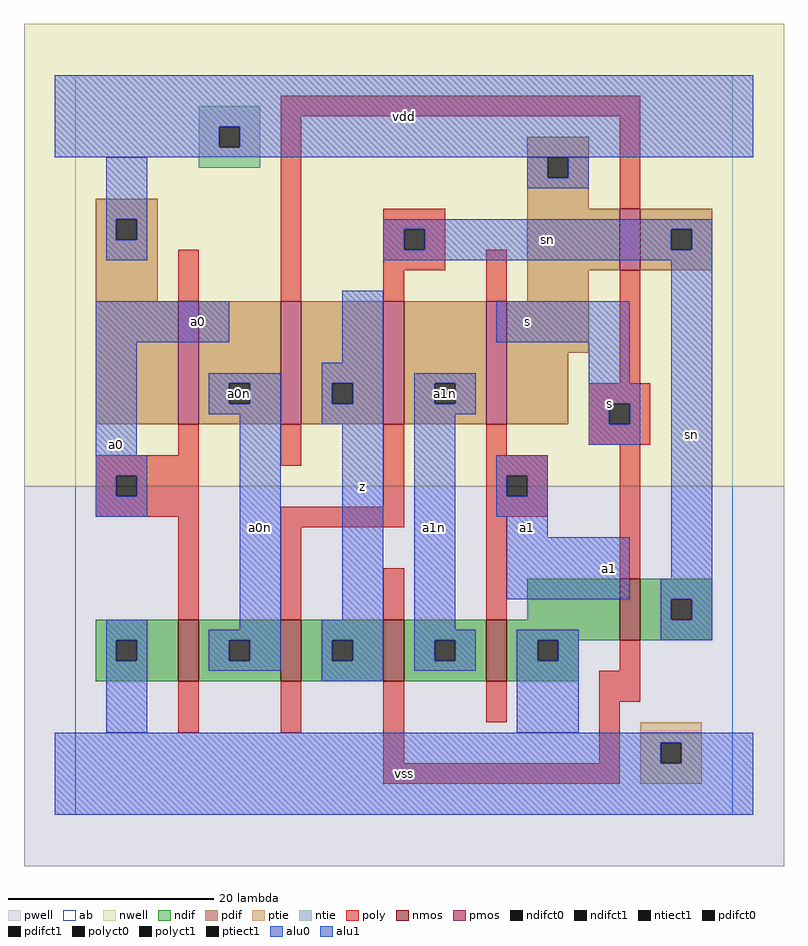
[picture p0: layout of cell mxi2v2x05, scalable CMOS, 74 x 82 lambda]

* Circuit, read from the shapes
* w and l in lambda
.subckt mxi2v2x05 a0 a0n a1 a1n s sn vdd vss z
M1 a0n a0 vss vss nfet w=6 l=2
M2 z sn a0n vss nfet w=6 l=2
M3 a1n s z vss nfet w=6 l=2
M4 vss a1 a1n vss nfet w=6 l=2
M5 sn s vss vss nfet w=6 l=2
M6 a0n a0 vdd vdd pfet w=12 l=2
M7 z s a0n vdd pfet w=12 l=2
M8 a1n sn z vdd pfet w=12 l=2
M9 vdd a1 a1n vdd pfet w=12 l=2
M10 sn s vdd vdd pfet w=6 l=2
.ends

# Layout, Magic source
magic
tech scmos
<< ab >>
rect 0 0 64 72
<< nwell >>
rect -5 32 69 77
<< pwell >>
rect -5 -5 69 32
<< poly >>
rect 20 68 55 70
rect 10 50 12 55
rect 20 50 22 68
rect 53 59 55 68
rect 30 57 36 59
rect 30 55 32 57
rect 34 55 36 57
rect 30 53 36 55
rect 30 50 32 53
rect 40 50 42 55
rect 53 42 55 53
rect 50 40 56 42
rect 50 38 52 40
rect 54 38 56 40
rect 10 35 12 38
rect 2 33 12 35
rect 20 34 22 38
rect 2 31 4 33
rect 6 31 12 33
rect 2 29 12 31
rect 30 30 32 38
rect 10 19 12 29
rect 20 28 32 30
rect 40 35 42 38
rect 50 36 56 38
rect 40 33 46 35
rect 40 31 42 33
rect 44 31 46 33
rect 40 29 46 31
rect 20 19 22 28
rect 30 19 32 24
rect 40 19 42 29
rect 53 23 55 36
rect 53 14 55 17
rect 10 8 12 13
rect 20 8 22 13
rect 30 5 32 13
rect 40 9 42 13
rect 51 11 55 14
rect 51 5 53 11
rect 30 3 53 5
<< ndif >>
rect 44 19 53 23
rect 2 17 10 19
rect 2 15 4 17
rect 6 15 10 17
rect 2 13 10 15
rect 12 17 20 19
rect 12 15 15 17
rect 17 15 20 17
rect 12 13 20 15
rect 22 17 30 19
rect 22 15 25 17
rect 27 15 30 17
rect 22 13 30 15
rect 32 17 40 19
rect 32 15 35 17
rect 37 15 40 17
rect 32 13 40 15
rect 42 17 53 19
rect 55 21 62 23
rect 55 19 58 21
rect 60 19 62 21
rect 55 17 62 19
rect 42 15 45 17
rect 47 15 49 17
rect 42 13 49 15
<< pdif >>
rect 2 58 8 60
rect 2 56 4 58
rect 6 56 8 58
rect 2 50 8 56
rect 44 64 50 66
rect 44 62 46 64
rect 48 62 50 64
rect 44 59 50 62
rect 44 53 53 59
rect 55 57 62 59
rect 55 55 58 57
rect 60 55 62 57
rect 55 53 62 55
rect 44 50 50 53
rect 2 38 10 50
rect 12 42 20 50
rect 12 40 15 42
rect 17 40 20 42
rect 12 38 20 40
rect 22 42 30 50
rect 22 40 25 42
rect 27 40 30 42
rect 22 38 30 40
rect 32 42 40 50
rect 32 40 35 42
rect 37 40 40 42
rect 32 38 40 40
rect 42 45 50 50
rect 42 38 48 45
<< alu1 >>
rect -2 67 66 72
rect -2 65 14 67
rect 16 65 66 67
rect -2 64 66 65
rect 2 46 15 50
rect 2 35 6 46
rect 26 44 30 51
rect 41 46 54 50
rect 2 33 7 35
rect 2 31 4 33
rect 6 31 7 33
rect 2 29 7 31
rect 24 42 30 44
rect 24 40 25 42
rect 27 40 30 42
rect 24 38 30 40
rect 26 19 30 38
rect 24 17 30 19
rect 24 15 25 17
rect 27 15 30 17
rect 24 13 30 15
rect 50 42 54 46
rect 50 40 55 42
rect 50 38 52 40
rect 54 38 55 40
rect 50 36 55 38
rect 41 33 46 35
rect 41 31 42 33
rect 44 31 46 33
rect 41 29 46 31
rect 42 27 46 29
rect 42 21 54 27
rect -2 7 66 8
rect -2 5 57 7
rect 59 5 66 7
rect -2 0 66 5
<< ptie >>
rect 55 7 61 9
rect 55 5 57 7
rect 59 5 61 7
rect 55 3 61 5
<< ntie >>
rect 12 67 18 69
rect 12 65 14 67
rect 16 65 18 67
rect 12 63 18 65
<< nmos >>
rect 10 13 12 19
rect 20 13 22 19
rect 30 13 32 19
rect 40 13 42 19
rect 53 17 55 23
<< pmos >>
rect 53 53 55 59
rect 10 38 12 50
rect 20 38 22 50
rect 30 38 32 50
rect 40 38 42 50
<< polyct0 >>
rect 32 55 34 57
<< polyct1 >>
rect 52 38 54 40
rect 4 31 6 33
rect 42 31 44 33
<< ndifct0 >>
rect 4 15 6 17
rect 15 15 17 17
rect 35 15 37 17
rect 58 19 60 21
rect 45 15 47 17
<< ndifct1 >>
rect 25 15 27 17
<< ntiect1 >>
rect 14 65 16 67
<< ptiect1 >>
rect 57 5 59 7
<< pdifct0 >>
rect 4 56 6 58
rect 46 62 48 64
rect 58 55 60 57
rect 15 40 17 42
rect 35 40 37 42
<< pdifct1 >>
rect 25 40 27 42
<< alu0 >>
rect 3 58 7 64
rect 44 62 46 64
rect 48 62 50 64
rect 44 61 50 62
rect 3 56 4 58
rect 6 56 7 58
rect 3 54 7 56
rect 30 57 62 58
rect 30 55 32 57
rect 34 55 58 57
rect 60 55 62 57
rect 30 54 62 55
rect 13 42 20 43
rect 13 40 15 42
rect 17 40 20 42
rect 13 39 20 40
rect 3 17 7 19
rect 16 18 20 39
rect 3 15 4 17
rect 6 15 7 17
rect 3 8 7 15
rect 13 17 20 18
rect 13 15 15 17
rect 17 15 20 17
rect 13 14 20 15
rect 33 42 39 43
rect 33 40 35 42
rect 37 40 39 42
rect 33 39 39 40
rect 33 18 37 39
rect 58 23 62 54
rect 57 21 62 23
rect 57 19 58 21
rect 60 19 62 21
rect 33 17 39 18
rect 33 15 35 17
rect 37 15 39 17
rect 33 14 39 15
rect 43 17 49 18
rect 57 17 62 19
rect 43 15 45 17
rect 47 15 49 17
rect 43 8 49 15
<< labels >>
rlabel alu0 18 28 18 28 6 a0n
rlabel pdifct0 16 41 16 41 6 a0n
rlabel alu0 35 28 35 28 6 a1n
rlabel pdifct0 36 41 36 41 6 a1n
rlabel alu0 60 37 60 37 6 sn
rlabel alu0 46 56 46 56 6 sn
rlabel alu1 4 36 4 36 6 a0
rlabel alu1 12 48 12 48 6 a0
rlabel alu1 28 32 28 32 6 z
rlabel alu1 32 4 32 4 6 vss
rlabel alu1 44 28 44 28 6 a1
rlabel alu1 44 48 44 48 6 s
rlabel alu1 32 68 32 68 6 vdd
rlabel alu1 52 24 52 24 6 a1
rlabel alu1 52 40 52 40 6 s
<< end >>
